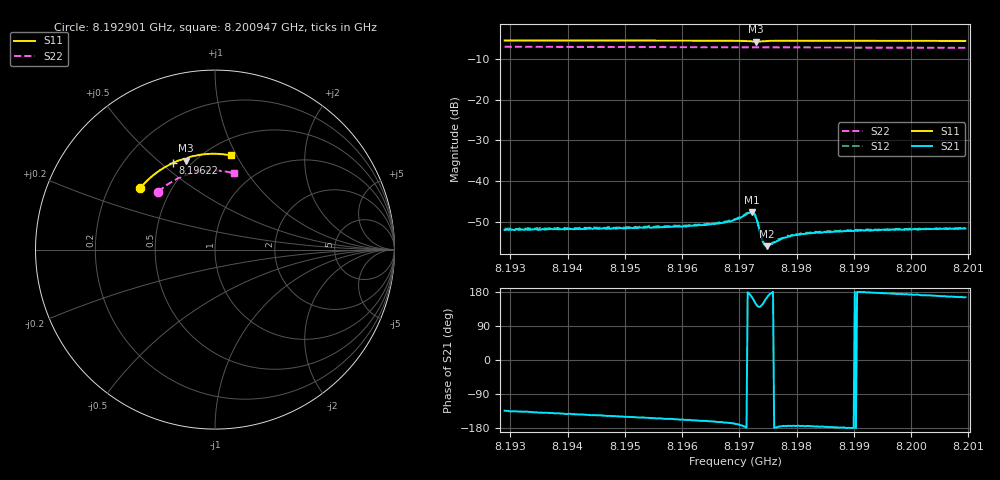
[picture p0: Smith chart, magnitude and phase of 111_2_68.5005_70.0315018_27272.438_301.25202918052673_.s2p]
#  HZ  S  RI  R  50.00
! Rohde & Schwarz Vector Network Analyzer
! Rohde-Schwarz,ZNB20-2Port,1311601062101988,3.16
! Created: UTC 3/20/2024, 4:53:34 PM
! freq[Hz]  re:S11  im:S11  re:S21  im:S21  re:S12  im:S12  re:S22  im:S22
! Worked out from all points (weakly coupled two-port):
!   401 points, 8.192901 GHz to 8.200947 GHz, reference 50 ohm
!   highest |S21| = -47.60 dB at 8.197226 GHz (marker M1); lowest = -56.0 dB at 8.197487 GHz (marker M2)
!   lowest |S11| = -5.7 dB at 8.197286 GHz (marker M3), VSWR 3.17, Z = 22.9 + j31.1 ohm
!   |S11| at or under -10 dB: nowhere
!   |S22| runs from -7.2 to -6.9 dB; largest |S21 - S12| = 0.00022
!   S11 on the Smith chart (normalised r, x): 8.192901 GHz: 0.33, +0.32; 8.19622 GHz: 0.41, +0.55; 8.200947 GHz: 0.65, +0.95
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8.1929007e9  -0.4172 0.3421  -0.00173 -0.00181  -0.00188 -0.00181  -0.3167 0.3209
8.1942484e9  -0.3502 0.4092  -0.00208 -0.00152  -0.00218 -0.00147  -0.258 0.3673
8.1955962e9  -0.272 0.4636  -0.00241 -0.0012  -0.00253 -0.0011  -0.192 0.4036
8.1962197e9  -0.2324 0.484  -0.00264 -0.001  -0.00274 -0.000917  -0.1595 0.4164
8.1966623e9  -0.2026 0.4964  -0.00289 -0.00085  -0.003 -0.000756  -0.1359 0.424
8.1969238e9  -0.1832 0.5024  -0.00327 -0.000684  -0.00335 -0.000548  -0.1216 0.4278
8.1971652e9  -0.1625 0.5026  -0.00402 0.00027  -0.00409 0.00045  -0.1083 0.4306
8.1972255e9  -0.1587 0.4988  -0.00401 0.00114  -0.00401 0.00134  -0.105 0.4312
8.1972658e9  -0.1589 0.496  -0.00348 0.00171  -0.00345 0.00189  -0.1031 0.4317
8.1972859e9  -0.1598 0.4952  -0.00307 0.0019  -0.00306 0.00204  -0.1019 0.4318
8.197306e9  -0.161 0.4953  -0.00266 0.00192  -0.00262 0.00209  -0.1009 0.4322
8.1973865e9  -0.1625 0.5014  -0.00163 0.00118  -0.00162 0.0013  -0.0966 0.4332
8.1974066e9  -0.1616 0.5032  -0.00152 0.000978  -0.00152 0.00107  -0.0954 0.4333
8.1974468e9  -0.1591 0.5062  -0.00148 0.000614  -0.0015 0.000705  -0.0931 0.4338
8.197487e9  -0.1562 0.5086  -0.00153 0.000369  -0.00155 0.000435  -0.0911 0.4343
8.1975273e9  -0.1532 0.5105  -0.00162 0.000187  -0.00163 0.000246  -0.0887 0.4346
8.1977083e9  -0.1393 0.5163  -0.00189 -0.000159  -0.00195 -5.69e-05  -0.0787 0.4365
8.1978893e9  -0.1259 0.5202  -0.00207 -0.000229  -0.0021 -0.000145  -0.0684 0.4377
8.1982715e9  -0.0984 0.5259  -0.00228 -0.000203  -0.00227 -0.000151  -0.047 0.4398
8.1987945e9  -0.0614 0.531  -0.00239 -6.7e-05  -0.00247 -3.64e-06  -0.0175 0.4412
8.1996193e9  -0.00261 0.5336  -0.00251 0.000196  -0.00251 0.000331  0.0292 0.439
8.2009469e9  0.0908 0.5244  -0.00252 0.000645  -0.00252 0.00079  0.1032 0.4252
